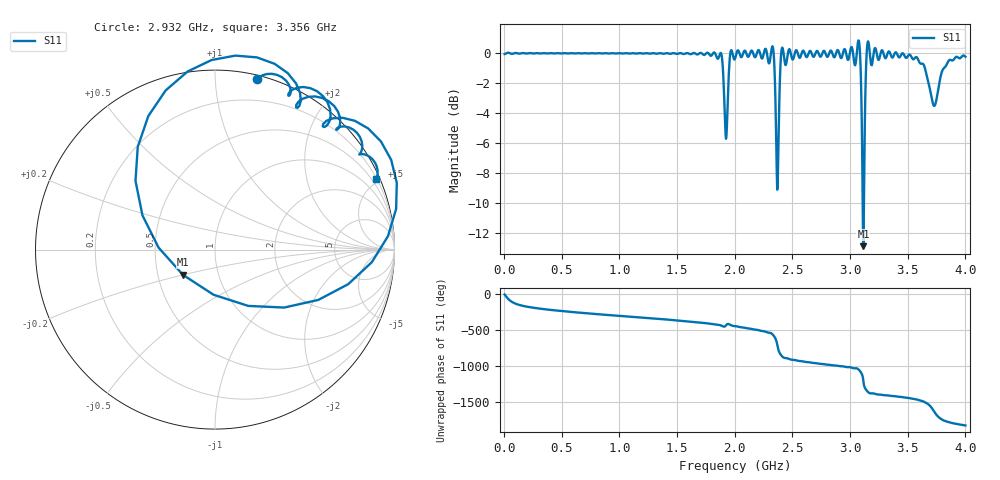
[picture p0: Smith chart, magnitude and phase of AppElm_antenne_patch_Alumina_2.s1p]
! TOUCHSTONE file generated by CST MICROWAVE STUDIO
! Date and time: Thu Jun  9 08:54:56 2022
! Project name: AppElm_antenne_patch_Alumina.cst
! Parameters = {L=24.4; W=41.8; e=0.035; h=1.6; lambda=0.190476; ls=90; w0=1.12; w1=0.373; ws=90; y0=14; y1=10}
! Header version: 2018
! Port assignment regex: !\s*Touchstone port\s*([0-9]+)\s*=\s*(CST MWS port|CST DS port)\s*([0-9]+|Zmin|Zmax)\s*\(\"(.*)\"\)(\s*mode\s*([0-9]+))?.*
! Touchstone port assignment:
! Touchstone port 1 = CST MWS port 1 ("")
# GHz S MA R 50
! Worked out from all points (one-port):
!   1000 points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, 4 MHz to 4 GHz, reference 50 ohm
!   lowest |S11| = -12.9 dB at 3.116 GHz (marker M1), VSWR 1.59, Z = 33.6 - j9.96 ohm
!   |S11| at or under -10 dB: 3.109538 GHz to 3.120058 GHz (10.52 MHz wide, 0.338 % of centre)
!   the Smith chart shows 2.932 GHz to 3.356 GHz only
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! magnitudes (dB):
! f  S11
! 4 MHz  -0.1
! 504 MHz  0.0
! 1.004 GHz  0.0
! 1.504 GHz  0.0
! 1.872 GHz  0.0
! 1.924 GHz  -5.7
! 1.964 GHz  0.1
! 2.004 GHz  -0.3
! 2.324 GHz  0.4
! 2.336 GHz  0.1
! 2.356 GHz  -4.3
! 2.368 GHz  -9.1
! 2.38 GHz  -5.6
! 2.412 GHz  0.4
! 2.504 GHz  -0.4
! 3.004 GHz  0.3
! 3.076 GHz  0.8
! 3.084 GHz  0.3
! 3.104 GHz  -6.0
! 3.116 GHz  -12.9
! 3.128 GHz  -4.6
! 3.148 GHz  0.5
! 3.16 GHz  0.7
! 3.504 GHz  -0.2
! 3.636 GHz  -0.7
! 3.728 GHz  -3.5
! 3.844 GHz  -0.6
! 4 GHz  -0.2
